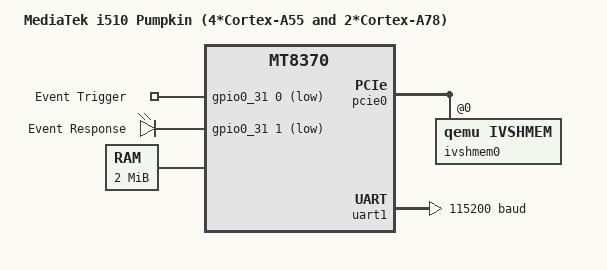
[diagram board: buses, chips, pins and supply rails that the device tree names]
/*
 * Copyright 2025 MediaTek
 *
 * SPDX-License-Identifier: Apache-2.0
 */

/dts-v1/;

#include <mem.h>
#include <zephyr/dt-bindings/gpio/gpio.h>
#include <mediatek/mt8370.dtsi>
#include "i510_pumpkin-pinctrl.dtsi"

/ {
	model = "MediaTek i510 Pumpkin (4*Cortex-A55 and 2*Cortex-A78)";
	compatible = "mediatek,mt8370-pumpkin";

	aliases {
		trigger = &trigger_gpio;
		response = &response_gpio;
	};

	chosen {
		zephyr,console = &uart1;
		zephyr,sram = &dram0;
		zephyr,pcie-controller = &pcie0;
	};

	trigger {
		compatible = "gpio-keys";

		trigger_gpio: trigger-gpio {
			gpios = <&gpio0_31 0 GPIO_ACTIVE_LOW>;  /* GPIO 0 */
			label = "Event Trigger";
		};
    };

	response {
		compatible = "gpio-leds";

		response_gpio: response-pgio {
			gpios = <&gpio0_31 1 GPIO_ACTIVE_LOW>;  /* GPIO 1 */
			label = "Event Response";
		};
	};

	cpus {
		cpu@0 {
			status = "disabled";
		};
		cpu@100 {
			status = "disabled";
		};
		cpu@200 {
			status = "disabled";
		};
		cpu@600 {
			status = "disabled";
		};
		cpu@700 {
			status = "disabled";
		};
	};

	dram0: memory@8000 {
		reg = <0x0 0x00008000 0x0 0x200000>;
	};

	pcie0: pcie@6b800000 {
		compatible = "pci-host-ecam-generic";
		device_type = "pci";
		reg = <0x0 0x6b800000 0x00 0x100000>;
		#address-cells = <0x03>;
		#size-cells = <0x02>;
		ranges = <0x03000000 0x00 0x6b900000 0x0 0x6b900000 0x00 0x1000>;

		status = "okay";

		ivshmem0: ivshmem@0 {
			compatible = "qemu,ivshmem";

            ivshmem-v2;

            interrupt-parent = <&gic>;
            interrupts = <GIC_SPI 74 IRQ_TYPE_LEVEL_HIGH IRQ_DEFAULT_PRIORITY>;

			vendor-id = <0x110a>;			/* Siemens */
			device-id = <0x4106>;			/* IVSHMEM */
			class-rev = <0xff000000>;       /* PCI_CLASS_OTHERS | IVSHMEM_PROTO_UNDEFINED */
			class-rev-mask = <0xffffff00>;	/* PCI_CLASS_MASK | IVSHMEM_PROTO_MASK */

			reg = <0x00 0x00 0x00 0x00 0x01>;

			status = "okay";
		};
	};
};

&gpio0_31 {
	status = "okay";
};

&uart1 {
	pinctrl-0 = <&uart1_default>;
	pinctrl-names = "default";
	current-speed = <115200>;
	status = "okay";
};
